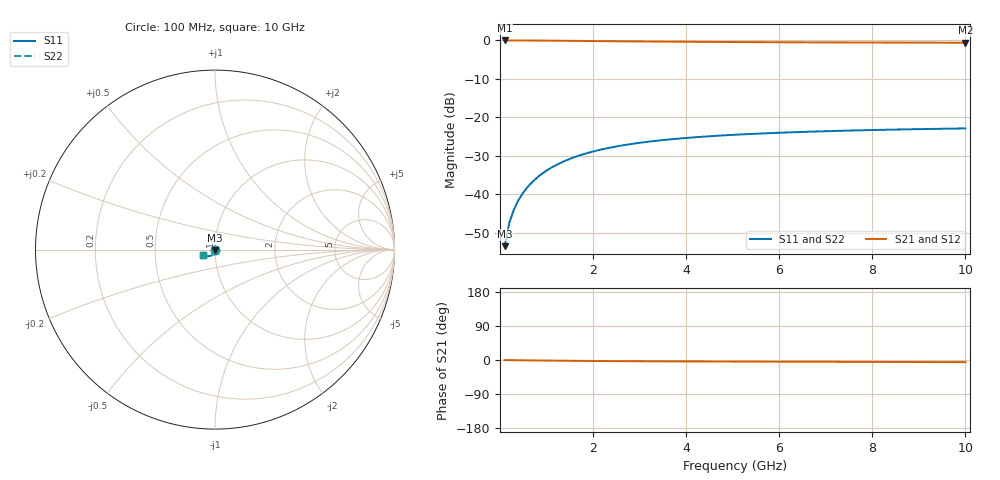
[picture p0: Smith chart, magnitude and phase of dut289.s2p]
! Touchstone file exported from HFSS 2024.1.0
!  File:  C:/UserFiles/LocalFiles/RDL_TSV_Batchsim/temp_TSV1_289_1778770790.aedt
!  Generated:  11:03:44 PM May 14, 2026
!  Design:  TSV1
!  Project:  temp_TSV1_289_1778770790
!  Setup:  Setup1
!  Solution:  Sweep
! Variables:
!  dtsv = 15.36um
!  hbump = 3um
!  htsv = 84.54um
!  lrdl = 252.1521522um
!  p = 40
!  p1 = 49.5um
!  t = 500um
!  trdl = 3um
!  wrdl = 24.89489489um
# GHz S MA R 50.000000
! Terminal data exported
! Port[1] = TSV22_T1
! Port[2] = TSV22_T2
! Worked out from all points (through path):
!   100 points, 100 MHz to 10 GHz, reference 50 ohm
!   highest |S21| = 0.00 dB at 100 MHz (marker M1); lowest = -0.6 dB at 10 GHz (marker M2)
!   lowest |S11| = -53.5 dB at 100 MHz (marker M3), VSWR 1.00, Z = 50 - j0.211 ohm
!   |S11| at or under -10 dB: start of sweep to end of sweep
!   |S22| runs from -53.5 to -22.9 dB; largest |S21 - S12| = 5.4e-15
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0.1  0.002111 -89.5  0.9998 -0.2  0.9998 -0.2  0.002111 -89.5
! Gamma 0 0 0 0
! Port Impedance 50 0 50 0
0.2  0.004223 -92.2  0.9996 -0.3  0.9996 -0.3  0.004223 -92.2
0.3  0.006331 -94.2  0.9993 -0.5  0.9993 -0.5  0.006331 -94.2
0.4  0.008425 -96.1  0.9988 -0.6  0.9988 -0.6  0.008425 -96.1
0.5  0.01049 -97.9  0.9983 -0.8  0.9983 -0.8  0.01049 -97.9
0.6  0.01253 -99.7  0.9976 -1.0  0.9976 -1.0  0.01253 -99.7
0.7  0.01453 -101.4  0.9968 -1.1  0.9968 -1.1  0.01453 -101.4
0.8  0.01649 -103.1  0.996 -1.2  0.996 -1.2  0.01649 -103.1
0.9  0.01841 -104.8  0.9951 -1.4  0.9951 -1.4  0.01841 -104.8
1.1  0.02208 -108.0  0.993 -1.6  0.993 -1.6  0.02208 -108.0
1.4  0.0272 -112.4  0.9895 -2.0  0.9895 -2.0  0.0272 -112.4
1.6  0.03033 -115.2  0.9871 -2.2  0.9871 -2.2  0.03033 -115.2
1.8  0.03324 -117.8  0.9846 -2.4  0.9846 -2.4  0.03324 -117.8
2.1  0.0372 -121.4  0.9808 -2.7  0.9808 -2.7  0.0372 -121.4
2.5  0.0418 -125.6  0.976 -3.0  0.976 -3.0  0.0418 -125.6
2.9  0.04572 -129.3  0.9714 -3.2  0.9714 -3.2  0.04572 -129.3
3.4  0.04985 -133.3  0.9663 -3.5  0.9663 -3.5  0.04985 -133.3
4.2  0.0551 -138.6  0.9593 -3.8  0.9593 -3.8  0.0551 -138.6
5.1  0.05958 -143.2  0.953 -4.2  0.953 -4.2  0.05958 -143.2
6.7  0.0652 -149.3  0.9447 -4.7  0.9447 -4.7  0.0652 -149.3
8.4  0.06918 -154.0  0.9385 -5.2  0.9385 -5.2  0.06918 -154.0
10  0.07179 -157.4  0.9344 -5.7  0.9344 -5.7  0.07179 -157.4
